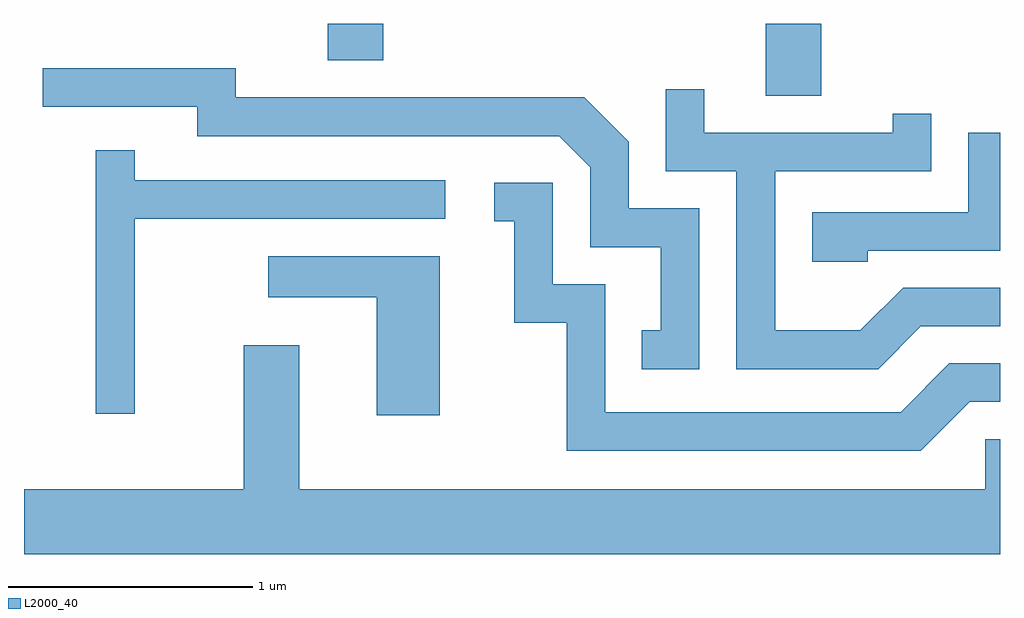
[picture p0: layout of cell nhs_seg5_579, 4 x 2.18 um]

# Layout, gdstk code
import gdstk
lib = gdstk.Library(unit=1e-6, precision=1e-09)
def R(c, l, rs):  # rectangles x0, y0, x1, y1
    for r in rs: c.add(gdstk.rectangle(r[:2], r[2:], *l))
def P(c, l, *ps):  # polygons
    for p in ps: c.add(gdstk.Polygon(p, *l))
L2000_40 = (2000, 40)

nhs_seg5_579 = lib.new_cell('nhs_seg5_579')
R(nhs_seg5_579, L2000_40, [(204.651,1469.776,204.879,1470.072), (202.856,1469.921,203.084,1470.072)])
P(nhs_seg5_579, L2000_40, [(204.379,1469.314),(204.089,1469.314),(204.089,1469.587),(203.907,1469.769),(202.479,1469.769),(202.479,1469.889),(201.688,1469.889),(201.688,1469.731),(202.321,1469.731),(202.321,1469.611),(203.804,1469.611),(203.931,1469.484),(203.931,1469.156),(204.221,1469.156),(204.221,1468.814),(204.143,1468.814),(204.143,1468.656),(204.379,1468.656)],
  [(205.287,1468.831),(205.611,1468.831),(205.611,1468.989),(205.214,1468.989),(205.039,1468.814),(204.689,1468.814),(204.689,1469.466),(205.329,1469.466),(205.329,1469.703),(205.171,1469.703),(205.171,1469.624),(204.399,1469.624),(204.399,1469.803),(204.241,1469.803),(204.241,1469.466),(204.531,1469.466),(204.531,1468.656),(205.112,1468.656)],
  [(205.069,1469.141),(205.611,1469.141),(205.611,1469.624),(205.481,1469.624),(205.481,1469.299),(204.841,1469.299),(204.841,1469.096),(205.069,1469.096)],
  [(202.064,1469.271),(203.338,1469.271),(203.338,1469.429),(202.064,1469.429),(202.064,1469.553),(201.906,1469.553),(201.906,1468.473),(202.064,1468.473)],
  [(205.487,1468.521),(205.611,1468.521),(205.611,1468.679),(205.404,1468.679),(205.204,1468.479),(203.994,1468.479),(203.994,1469.004),(203.779,1469.004),(203.779,1469.419),(203.538,1469.419),(203.538,1469.261),(203.621,1469.261),(203.621,1468.846),(203.836,1468.846),(203.836,1468.321),(205.287,1468.321)],
  [(203.314,1469.119),(202.613,1469.119),(202.613,1468.951),(203.056,1468.951),(203.056,1468.466),(203.314,1468.466)],
  [(205.611,1468.369),(205.551,1468.369),(205.551,1468.164),(202.739,1468.164),(202.739,1468.754),(202.511,1468.754),(202.511,1468.164),(201.611,1468.164),(201.611,1467.896),(205.611,1467.896)])

lib.write_gds('nhs_seg5_579.gds')
